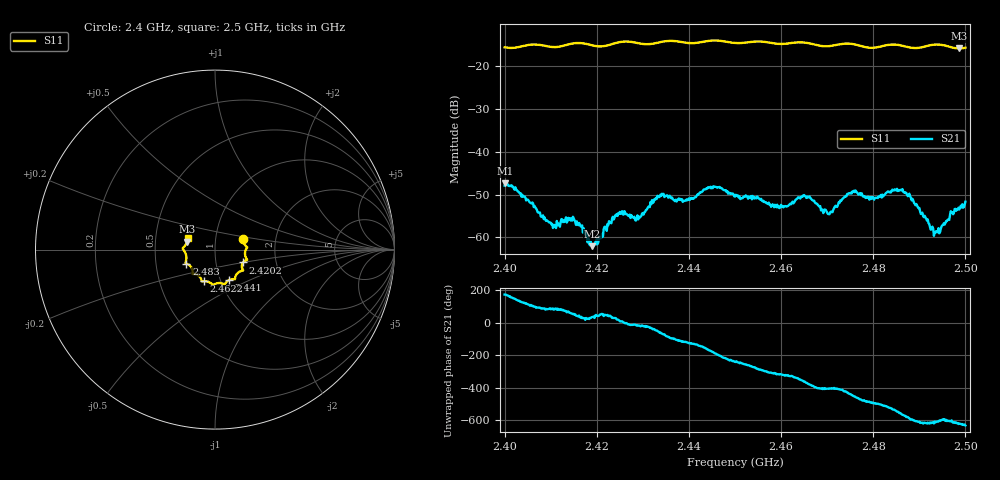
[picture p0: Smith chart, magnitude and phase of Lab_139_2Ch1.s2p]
# Hz S RI R 50
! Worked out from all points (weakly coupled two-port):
!   601 points, 2.4 GHz to 2.5 GHz, reference 50 ohm
!   highest |S21| = -47.32 dB at 2.4002 GHz (marker M1); lowest = -62.1 dB at 2.419 GHz (marker M2)
!   lowest |S11| = -15.8 dB at 2.4987 GHz (marker M3), VSWR 1.39, Z = 36.4 + j3.33 ohm
!   |S11| at or under -10 dB: start of sweep to end of sweep
!   S12 and S22 are empty: the file has one direction only
!   S11 on the Smith chart (normalised r, x): 2.4 GHz: 1.36, +0.17; 2.4202 GHz: 1.35, -0.20; 2.441 GHz: 1.09, -0.39; 2.4622 GHz: 0.83, -0.30; 2.483 GHz: 0.72, -0.12; 2.5 GHz: 0.73, +0.09
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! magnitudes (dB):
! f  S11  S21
! 2.4 GHz  -15.5  -47.9
! 2.4002 GHz  -15.6  -47.3
! 2.4107 GHz  -15.5  -57.3
! 2.4167 GHz  -14.6  -57.5
! 2.419 GHz  -15.1  -62.1
! 2.4202 GHz  -15.3  -61.6
! 2.4245 GHz  -14.4  -55.0
! 2.4288 GHz  -14.5  -54.9
! 2.4333 GHz  -14.4  -50.4
! 2.441 GHz  -14.6  -51.0
! 2.4455 GHz  -13.9  -48.2
! 2.45 GHz  -14.5  -50.5
! 2.4622 GHz  -14.5  -52.3
! 2.4667 GHz  -14.7  -51.2
! 2.4707 GHz  -15.2  -54.1
! 2.4757 GHz  -14.8  -49.3
! 2.483 GHz  -15.0  -49.4
! 2.4833 GHz  -15.0  -49.3
! 2.4875 GHz  -15.5  -50.4
! 2.4935 GHz  -14.9  -58.9
! 2.4987 GHz  -15.8  -53.5
! 2.5 GHz  -15.6  -51.7
